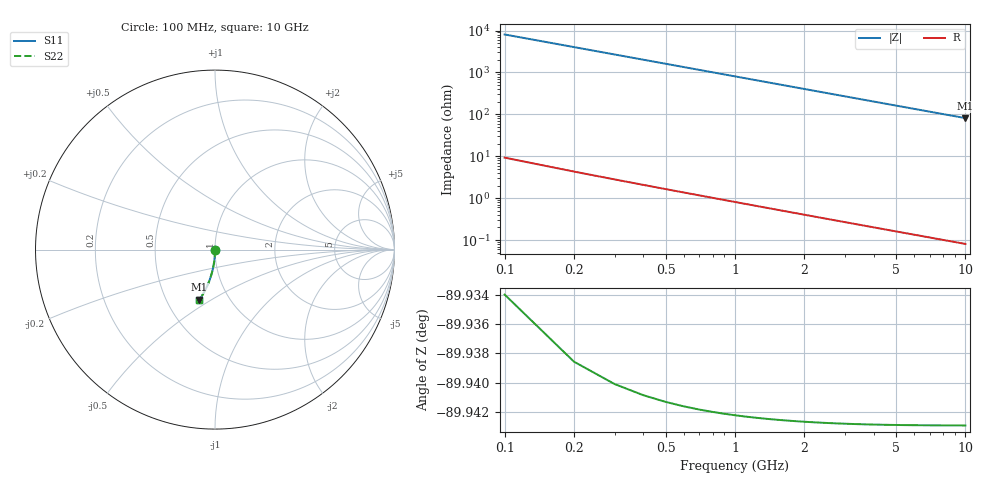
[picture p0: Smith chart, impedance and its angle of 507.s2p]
# Hz S RI R 50.00
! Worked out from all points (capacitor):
!   100 points, 100 MHz to 10 GHz, reference 50 ohm
!   read as one part in shunt: C = 198 fF near 100 MHz
!   lowest |Z| = 81.4 ohm at 10 GHz (marker M1)
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1e8  -9.92e-06 -0.00309  1 -0.00312  1 -0.00312  -9.92e-06 -0.00309
2e8  -4.19e-05 -0.00618  1 -0.00624  1 -0.00624  -4.19e-05 -0.00618
3e8  -9.3e-05 -0.00926  0.9999 -0.00935  0.9999 -0.00935  -9.3e-05 -0.00926
4e8  -0.000163 -0.0123  0.9998 -0.0125  0.9998 -0.0125  -0.000163 -0.0123
5e8  -0.000253 -0.0154  0.9997 -0.0156  0.9997 -0.0156  -0.000253 -0.0154
6e8  -0.000362 -0.0185  0.9996 -0.0187  0.9996 -0.0187  -0.000362 -0.0185
7e8  -0.00049 -0.0216  0.9995 -0.0218  0.9995 -0.0218  -0.00049 -0.0216
8e8  -0.000637 -0.0247  0.9994 -0.0249  0.9994 -0.0249  -0.000637 -0.0247
9e8  -0.000803 -0.0278  0.9992 -0.028  0.9992 -0.028  -0.000803 -0.0278
1.1e9  -0.00119 -0.0339  0.9988 -0.0342  0.9988 -0.0342  -0.00119 -0.0339
1.4e9  -0.00192 -0.0431  0.9981 -0.0435  0.9981 -0.0435  -0.00192 -0.0431
1.8e9  -0.00315 -0.0553  0.9968 -0.0559  0.9968 -0.0559  -0.00315 -0.0553
2.1e9  -0.00428 -0.0645  0.9957 -0.0651  0.9957 -0.0651  -0.00428 -0.0645
2.5e9  -0.00603 -0.0766  0.994 -0.0773  0.994 -0.0773  -0.00603 -0.0766
2.9e9  -0.00808 -0.0886  0.9919 -0.0895  0.9919 -0.0895  -0.00808 -0.0886
3.4e9  -0.011 -0.1035  0.989 -0.1045  0.989 -0.1045  -0.011 -0.1035
4.2e9  -0.0167 -0.127  0.9833 -0.1283  0.9833 -0.1283  -0.0167 -0.127
5.1e9  -0.0243 -0.1528  0.9757 -0.1544  0.9757 -0.1544  -0.0243 -0.1528
5.9e9  -0.0322 -0.1752  0.9678 -0.177  0.9678 -0.177  -0.0322 -0.1752
6.7e9  -0.0411 -0.1969  0.9589 -0.199  0.9589 -0.199  -0.0411 -0.1969
8.4e9  -0.0628 -0.2408  0.9372 -0.2434  0.9372 -0.2434  -0.0628 -0.2408
1e10  -0.0864 -0.2789  0.9136 -0.2821  0.9136 -0.2821  -0.0864 -0.2789
